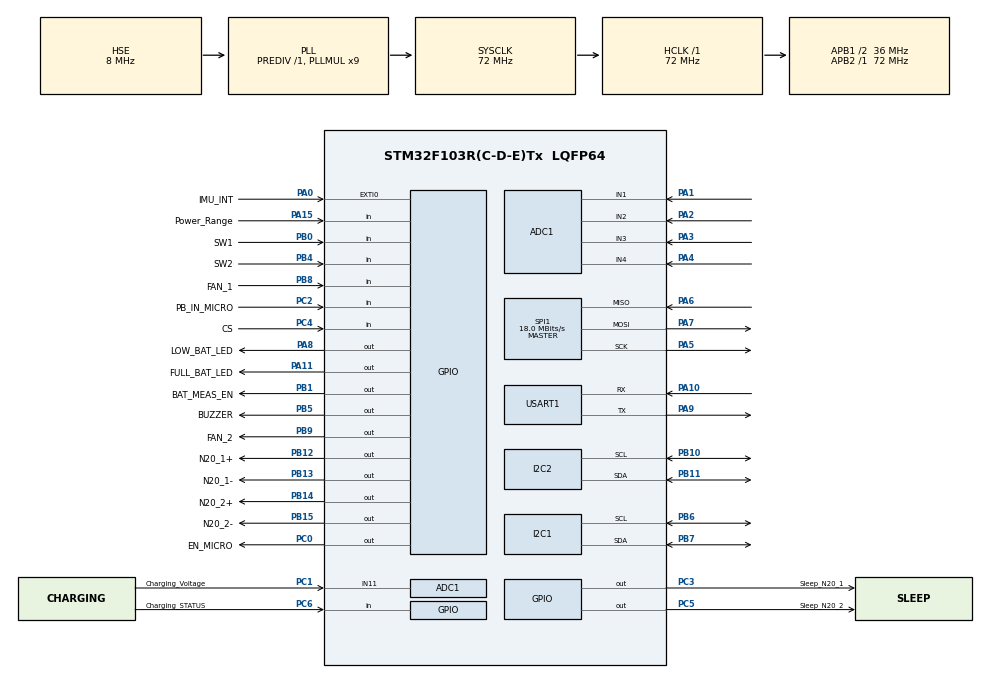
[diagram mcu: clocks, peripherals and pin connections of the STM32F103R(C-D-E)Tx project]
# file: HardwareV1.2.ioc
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ADC1.Channel-0\#ChannelRegularConversion=ADC_CHANNEL_1
ADC1.Channel-1\#ChannelRegularConversion=ADC_CHANNEL_2
ADC1.Channel-2\#ChannelRegularConversion=ADC_CHANNEL_3
ADC1.Channel-3\#ChannelRegularConversion=ADC_CHANNEL_4
ADC1.Channel-4\#ChannelRegularConversion=ADC_CHANNEL_11
ADC1.ContinuousConvMode=ENABLE
ADC1.EnableAnalogWatchDog=false
ADC1.NbrOfConversion=5
ADC1.NbrOfConversionFlag=1
ADC1.Rank-0\#ChannelRegularConversion=1
ADC1.Rank-1\#ChannelRegularConversion=2
ADC1.Rank-2\#ChannelRegularConversion=3
ADC1.Rank-3\#ChannelRegularConversion=4
ADC1.Rank-4\#ChannelRegularConversion=5
ADC1.SamplingTime-0\#ChannelRegularConversion=ADC_SAMPLETIME_28CYCLES_5
ADC1.SamplingTime-1\#ChannelRegularConversion=ADC_SAMPLETIME_28CYCLES_5
ADC1.SamplingTime-2\#ChannelRegularConversion=ADC_SAMPLETIME_28CYCLES_5
ADC1.SamplingTime-3\#ChannelRegularConversion=ADC_SAMPLETIME_28CYCLES_5
ADC1.SamplingTime-4\#ChannelRegularConversion=ADC_SAMPLETIME_28CYCLES_5
ADC1.master=1
Dma.ADC1.0.Direction=DMA_PERIPH_TO_MEMORY
Dma.ADC1.0.Instance=DMA1_Channel1
Dma.ADC1.0.MemDataAlignment=DMA_MDATAALIGN_HALFWORD
Dma.ADC1.0.MemInc=DMA_MINC_ENABLE
Dma.ADC1.0.Mode=DMA_CIRCULAR
Dma.ADC1.0.PeriphDataAlignment=DMA_PDATAALIGN_HALFWORD
Dma.ADC1.0.PeriphInc=DMA_PINC_DISABLE
Dma.ADC1.0.Priority=DMA_PRIORITY_LOW
Dma.Request0=ADC1
FREERTOS.Tasks01=defaultTask,0,128,StartDefaultTask,Default,NULL,Dynamic,NULL,NULL;IMU_TASK,0,128,Start_IMU_TASK,Default,NULL,Dynamic,NULL,NULL;BT_Task,-3,128,Start_BT_Task,Default,NULL,Dynamic,NULL,NULL
FREERTOS.configUSE_NEWLIB_REENTRANT=1
IWDG.Prescaler=IWDG_PRESCALER_256
Mcu.Family=STM32F1
Mcu.Name=STM32F103R(C-D-E)Tx
Mcu.Package=LQFP64
NVIC.DMA1_Channel1_IRQn=true\:5\:0\:false\:false\:true\:true\:false\:true\:true
NVIC.EXTI0_IRQn=true\:5\:0\:false\:false\:true\:true\:true\:true\:true
NVIC.PriorityGroup=NVIC_PRIORITYGROUP_4
NVIC.TIM1_UP_IRQn=true\:15\:0\:false\:false\:true\:false\:false\:true\:true
NVIC.TimeBase=TIM1_UP_IRQn
NVIC.TimeBaseIP=TIM1
NVIC.USART1_IRQn=true\:5\:0\:false\:false\:true\:true\:true\:true\:true
PA0-WKUP.GPIO_Label=IMU_INT
PA0-WKUP.GPIO_ModeDefaultEXTI=GPIO_MODE_IT_RISING
PA0-WKUP.GPIO_PuPd=GPIO_NOPULL
PA0-WKUP.Signal=GPXTI0
PA1.Signal=ADCx_IN1
PA10.Mode=Asynchronous
PA10.Signal=USART1_RX
PA11.GPIO_Label=FULL_BAT_LED
PA11.Signal=GPIO_Output
PA13.Mode=Trace_Asynchronous_SW
PA13.Signal=SYS_JTMS-SWDIO
PA14.Mode=Trace_Asynchronous_SW
PA14.Signal=SYS_JTCK-SWCLK
PA15.GPIO_Label=Power_Range
PA15.Signal=GPIO_Input
PA2.Signal=ADCx_IN2
PA3.Signal=ADCx_IN3
PA4.Signal=ADCx_IN4
PA5.Mode=Full_Duplex_Master
PA5.Signal=SPI1_SCK
PA6.Mode=Full_Duplex_Master
PA6.Signal=SPI1_MISO
PA7.Mode=Full_Duplex_Master
PA7.Signal=SPI1_MOSI
PA8.GPIO_Label=LOW_BAT_LED
PA8.Signal=GPIO_Output
PA9.Mode=Asynchronous
PA9.Signal=USART1_TX
PB0.GPIO_Label=SW1
PB0.GPIO_PuPd=GPIO_PULLUP
PB0.Signal=GPIO_Input
PB1.GPIO_Label=BAT_MEAS_EN
PB1.Signal=GPIO_Output
PB10.Mode=I2C
PB10.Signal=I2C2_SCL
PB11.Mode=I2C
PB11.Signal=I2C2_SDA
PB12.GPIO_Label=N20_1+
PB12.Signal=GPIO_Output
PB13.GPIO_Label=N20_1-
PB13.Signal=GPIO_Output
PB14.GPIO_Label=N20_2+
PB14.Signal=GPIO_Output
PB15.GPIO_Label=N20_2-
PB15.Signal=GPIO_Output
PB3.Mode=Trace_Asynchronous_SW
PB3.Signal=SYS_JTDO-TRACESWO
PB4.GPIO_Label=SW2
PB4.GPIO_PuPd=GPIO_PULLUP
PB4.Signal=GPIO_Input
PB5.GPIO_Label=BUZZER
PB5.Signal=GPIO_Output
PB6.Mode=I2C
PB6.Signal=I2C1_SCL
PB7.Mode=I2C
PB7.Signal=I2C1_SDA
PB8.GPIO_Label=FAN_1
PB8.Signal=GPIO_Input
PB9.GPIO_Label=FAN_2
PB9.Signal=GPIO_Output
PC0.GPIO_Label=EN_MICRO
PC0.Signal=GPIO_Output
PC1.GPIO_Label=Charging_Voltage
PC1.Signal=ADCx_IN11
PC2.GPIO_Label=PB_IN_MICRO
PC2.GPIO_PuPd=GPIO_PULLUP
PC2.Signal=GPIO_Input
PC3.GPIO_Label=Sleep_N20_1
PC3.Signal=GPIO_Output
PC4.GPIO_Label=CS
PC4.Signal=GPIO_Input
PC5.GPIO_Label=Sleep_N20_2
PC5.Signal=GPIO_Output
PC6.GPIO_Label=Charging_STATUS
PC6.Signal=GPIO_Input
PD0-OSC_IN.Mode=HSE-External-Oscillator
PD0-OSC_IN.Signal=RCC_OSC_IN
PD1-OSC_OUT.Mode=HSE-External-Oscillator
PD1-OSC_OUT.Signal=RCC_OSC_OUT
ProjectManager.HeapSize=0x200
ProjectManager.StackSize=0x400
ProjectManager.TargetToolchain=STM32CubeIDE
RCC.ADCPresc=RCC_ADCPCLK2_DIV6
RCC.AHBFreq_Value=72000000
RCC.APB1CLKDivider=RCC_HCLK_DIV2
RCC.APB1Freq_Value=36000000
RCC.APB1TimFreq_Value=72000000
RCC.APB2Freq_Value=72000000
RCC.APB2TimFreq_Value=72000000
RCC.HCLKFreq_Value=72000000
RCC.PLLMUL=RCC_PLL_MUL9
RCC.PLLSourceVirtual=RCC_PLLSOURCE_HSE
RCC.SYSCLKFreq_VALUE=72000000
RCC.SYSCLKSource=RCC_SYSCLKSOURCE_PLLCLK
RCC.USBFreq_Value=72000000
SH.ADCx_IN1.0=ADC1_IN1,IN1
SH.ADCx_IN11.0=ADC1_IN11,IN11
SH.ADCx_IN2.0=ADC1_IN2,IN2
SH.ADCx_IN3.0=ADC1_IN3,IN3
SH.ADCx_IN4.0=ADC1_IN4,IN4
SPI1.BaudRatePrescaler=SPI_BAUDRATEPRESCALER_4
SPI1.CalculateBaudRate=18.0 MBits/s
SPI1.Direction=SPI_DIRECTION_2LINES
SPI1.Mode=SPI_MODE_MASTER
SPI1.VirtualType=VM_MASTER
USART1.VirtualMode=VM_ASYNC
VP_FREERTOS_VS_CMSIS_V1.Mode=CMSIS_V1
VP_IWDG_VS_IWDG.Mode=IWDG_Activate
VP_RTC_VS_RTC_Activate.Mode=RTC_Enabled
VP_SYS_VS_tim1.Mode=TIM1
board=custom

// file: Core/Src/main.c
/* USER CODE BEGIN Header */
/**
  ******************************************************************************
  * @file           : main.c
  * @brief          : Main program body
  ******************************************************************************
  * @attention
  *
  * Copyright (c) 2025 STMicroelectronics.
  * All rights reserved.
  *
  * This software is licensed under terms that can be found in the LICENSE file
  * in the root directory of this software component.
  * If no LICENSE file comes with this software, it is provided AS-IS.
  *
  ******************************************************************************
  */
/* USER CODE END Header */
#include "main.h"
#include "cmsis_os.h"

/* USER CODE BEGIN Includes */

#include "GPIO.h"
#include "icm20948.h"
#include "function.h"
#include "var.h"
#include "flashio.h"
#include "Exicution.h"
#include "W25Qxx.h"
#include "rtc.h" // custem rtc lib
#include "PCF85063A.h"
/* USER CODE END Includes */

/* USER CODE BEGIN PTD */
uint32_t inf_time=0,Def_time=0;
uint32_t unixTime =1786605427;
uint8_t rtcBuffer[7];
/* USER CODE END PTD */

ADC_HandleTypeDef hadc1;
DMA_HandleTypeDef hdma_adc1;

I2C_HandleTypeDef hi2c1;
I2C_HandleTypeDef hi2c2;

IWDG_HandleTypeDef hiwdg;

RTC_HandleTypeDef hrtc;

SPI_HandleTypeDef hspi1;

UART_HandleTypeDef huart1;

osThreadId defaultTaskHandle;
osThreadId IMU_TASKHandle;
osThreadId BT_TaskHandle;
/* USER CODE BEGIN PV */
volatile bool motionDetected = false;
/* USER CODE END PV */

void SystemClock_Config(void);
static void MX_GPIO_Init(void);
static void MX_DMA_Init(void);
static void MX_ADC1_Init(void);
static void MX_IWDG_Init(void);
static void MX_I2C2_Init(void);
static void MX_USART1_UART_Init(void);
static void MX_SPI1_Init(void);
static void MX_RTC_Init(void);
static void MX_I2C1_Init(void);
void StartDefaultTask(void const * argument);
void Start_IMU_TASK(void const * argument);
void Start_BT_Task(void const * argument);

/* USER CODE BEGIN PFP */
void DWT_Delay_Init(void);
void delay_us(uint32_t us);
void vTaskDelay(const TickType_t xTicksToDelay);
void HAL_GPIO_EXTI_Callback(uint16_t GPIO_Pin);
/* USER CODE END PFP */

/* USER CODE BEGIN 0 */
void HARDWRAE_ERROR() {
//	  NVIC_SystemReset();
}
/* USER CODE END 0 */

int main(void)
{

  /* MCU Configuration--------------------------------------------------------*/

  /* Reset of all peripherals, Initializes the Flash interface and the Systick. */
  HAL_Init();

  /* Configure the system clock */
  SystemClock_Config();

  /* USER CODE BEGIN SysInit */
  MX_USART1_UART_Init();
  /* USER CODE END SysInit */

  /* Initialize all configured peripherals */
  MX_GPIO_Init();
  MX_DMA_Init();
  MX_ADC1_Init();
//  MX_IWDG_Init();
  MX_I2C2_Init();
  MX_USART1_UART_Init();
  MX_SPI1_Init();
  MX_RTC_Init();
  MX_I2C1_Init();
  /* USER CODE BEGIN 2 */

  sendString(&huart1,(int8_t*)Device_ID,19);
  /* USER CODE END 2 */

  /* Create the thread(s) */
  /* definition and creation of defaultTask */
  osThreadDef(defaultTask, StartDefaultTask, osPriorityNormal, 1, 128);
  defaultTaskHandle = osThreadCreate(osThread(defaultTask), NULL);

  /* definition and creation of IMU_TASK */
  osThreadDef(IMU_TASK, Start_IMU_TASK, osPriorityNormal, 2, 128);
  IMU_TASKHandle = osThreadCreate(osThread(IMU_TASK), NULL);

  /* definition and creation of BT_Task */
  osThreadDef(BT_Task, Start_BT_Task, osPriorityNormal, 0, 128);
  BT_TaskHandle = osThreadCreate(osThread(BT_Task), NULL);

  /* Start scheduler */
  osKernelStart();

  /* We should never get here as control is now taken by the scheduler */

  /* Infinite loop */
  while (1)
  {

  }
}

void SystemClock_Config(void)
{
  RCC_OscInitTypeDef RCC_OscInitStruct = {0};
  RCC_ClkInitTypeDef RCC_ClkInitStruct = {0};
  RCC_PeriphCLKInitTypeDef PeriphClkInit = {0};

  /** Initializes the RCC Oscillators according to the specified parameters
  * in the RCC_OscInitTypeDef structure.
  */
  RCC_OscInitStruct.OscillatorType = RCC_OSCILLATORTYPE_LSI|RCC_OSCILLATORTYPE_HSE;
  RCC_OscInitStruct.HSEState = RCC_HSE_ON;
  RCC_OscInitStruct.HSEPredivValue = RCC_HSE_PREDIV_DIV1;
  RCC_OscInitStruct.HSIState = RCC_HSI_ON;
  RCC_OscInitStruct.LSIState = RCC_LSI_ON;
  RCC_OscInitStruct.PLL.PLLState = RCC_PLL_ON;
  RCC_OscInitStruct.PLL.PLLSource = RCC_PLLSOURCE_HSE;
  RCC_OscInitStruct.PLL.PLLMUL = RCC_PLL_MUL9;
  if (HAL_RCC_OscConfig(&RCC_OscInitStruct) != HAL_OK)
  {
    Error_Handler();
  }

  /** Initializes the CPU, AHB and APB buses clocks
  */
  RCC_ClkInitStruct.ClockType = RCC_CLOCKTYPE_HCLK|RCC_CLOCKTYPE_SYSCLK
                              |RCC_CLOCKTYPE_PCLK1|RCC_CLOCKTYPE_PCLK2;
  RCC_ClkInitStruct.SYSCLKSource = RCC_SYSCLKSOURCE_PLLCLK;
  RCC_ClkInitStruct.AHBCLKDivider = RCC_SYSCLK_DIV1;
  RCC_ClkInitStruct.APB1CLKDivider = RCC_HCLK_DIV2;
  RCC_ClkInitStruct.APB2CLKDivider = RCC_HCLK_DIV1;

  if (HAL_RCC_ClockConfig(&RCC_ClkInitStruct, FLASH_LATENCY_2) != HAL_OK)
  {
    Error_Handler();
  }
  PeriphClkInit.PeriphClockSelection = RCC_PERIPHCLK_RTC|RCC_PERIPHCLK_ADC;
  PeriphClkInit.RTCClockSelection = RCC_RTCCLKSOURCE_LSI;
  PeriphClkInit.AdcClockSelection = RCC_ADCPCLK2_DIV6;
  if (HAL_RCCEx_PeriphCLKConfig(&PeriphClkInit) != HAL_OK)
  {
    Error_Handler();
  }
}

static void MX_ADC1_Init(void)
{

  ADC_ChannelConfTypeDef sConfig = {0};

  /** Common config
  */
  hadc1.Instance = ADC1;
  hadc1.Init.ScanConvMode = ADC_SCAN_ENABLE;
  hadc1.Init.ContinuousConvMode = ENABLE;
  hadc1.Init.DiscontinuousConvMode = DISABLE;
  hadc1.Init.ExternalTrigConv = ADC_SOFTWARE_START;
  hadc1.Init.DataAlign = ADC_DATAALIGN_RIGHT;
  hadc1.Init.NbrOfConversion = 5;
  if (HAL_ADC_Init(&hadc1) != HAL_OK)
  {
    Error_Handler();
  }

  /** Configure Regular Channel
  */
  sConfig.Channel = ADC_CHANNEL_1;
  sConfig.Rank = ADC_REGULAR_RANK_1;
  sConfig.SamplingTime = ADC_SAMPLETIME_28CYCLES_5;
  if (HAL_ADC_ConfigChannel(&hadc1, &sConfig) != HAL_OK)
  {
    Error_Handler();
  }

  /** Configure Regular Channel
  */
  sConfig.Channel = ADC_CHANNEL_2;
  sConfig.Rank = ADC_REGULAR_RANK_2;
  if (HAL_ADC_ConfigChannel(&hadc1, &sConfig) != HAL_OK)
  {
    Error_Handler();
  }

  /** Configure Regular Channel
  */
  sConfig.Channel = ADC_CHANNEL_3;
  sConfig.Rank = ADC_REGULAR_RANK_3;
  if (HAL_ADC_ConfigChannel(&hadc1, &sConfig) != HAL_OK)
  {
    Error_Handler();
  }

  /** Configure Regular Channel
  */
  sConfig.Channel = ADC_CHANNEL_4;
  sConfig.Rank = ADC_REGULAR_RANK_4;
  if (HAL_ADC_ConfigChannel(&hadc1, &sConfig) != HAL_OK)
  {
    Error_Handler();
  }

  /** Configure Regular Channel
  */
  sConfig.Channel = ADC_CHANNEL_11;
  sConfig.Rank = ADC_REGULAR_RANK_5;
  if (HAL_ADC_ConfigChannel(&hadc1, &sConfig) != HAL_OK)
  {
    Error_Handler();
  }

}

static void MX_I2C1_Init(void)
{

  hi2c1.Instance = I2C1;
  hi2c1.Init.ClockSpeed = 100000;
  hi2c1.Init.DutyCycle = I2C_DUTYCYCLE_2;
  hi2c1.Init.OwnAddress1 = 0;
  hi2c1.Init.AddressingMode = I2C_ADDRESSINGMODE_7BIT;
  hi2c1.Init.DualAddressMode = I2C_DUALADDRESS_DISABLE;
  hi2c1.Init.OwnAddress2 = 0;
  hi2c1.Init.GeneralCallMode = I2C_GENERALCALL_DISABLE;
  hi2c1.Init.NoStretchMode = I2C_NOSTRETCH_DISABLE;
  if (HAL_I2C_Init(&hi2c1) != HAL_OK)
  {
    Error_Handler();
  }

}

static void MX_I2C2_Init(void)
{

  hi2c2.Instance = I2C2;
  hi2c2.Init.ClockSpeed = 100000;
  hi2c2.Init.DutyCycle = I2C_DUTYCYCLE_2;
  hi2c2.Init.OwnAddress1 = 0;
  hi2c2.Init.AddressingMode = I2C_ADDRESSINGMODE_7BIT;
  hi2c2.Init.DualAddressMode = I2C_DUALADDRESS_DISABLE;
  hi2c2.Init.OwnAddress2 = 0;
  hi2c2.Init.GeneralCallMode = I2C_GENERALCALL_DISABLE;
  hi2c2.Init.NoStretchMode = I2C_NOSTRETCH_DISABLE;
  if (HAL_I2C_Init(&hi2c2) != HAL_OK)
  {
    Error_Handler();
  }
  /* USER CODE BEGIN I2C2_Init 2 */
  sendString(&huart1, (int8_t*)"B", 1);
  /* USER CODE END I2C2_Init 2 */

}

static void MX_IWDG_Init(void)
{

  hiwdg.Instance = IWDG;
  hiwdg.Init.Prescaler = IWDG_PRESCALER_256;
  hiwdg.Init.Reload = 4095;
  if (HAL_IWDG_Init(&hiwdg) != HAL_OK)
  {
    Error_Handler();
  }

}

static void MX_RTC_Init(void)
{

  /** Initialize RTC Only
  */
  hrtc.Instance = RTC;
  hrtc.Init.AsynchPrediv = RTC_AUTO_1_SECOND;
  hrtc.Init.OutPut = RTC_OUTPUTSOURCE_ALARM;
  if (HAL_RTC_Init(&hrtc) != HAL_OK)
  {
    Error_Handler();
  }

}

static void MX_SPI1_Init(void)
{

  /* SPI1 parameter configuration*/
  hspi1.Instance = SPI1;
  hspi1.Init.Mode = SPI_MODE_MASTER;
  hspi1.Init.Direction = SPI_DIRECTION_2LINES;
  hspi1.Init.DataSize = SPI_DATASIZE_8BIT;
  hspi1.Init.CLKPolarity = SPI_POLARITY_LOW;
  hspi1.Init.CLKPhase = SPI_PHASE_1EDGE;
  hspi1.Init.NSS = SPI_NSS_SOFT;
  hspi1.Init.BaudRatePrescaler = SPI_BAUDRATEPRESCALER_4;
  hspi1.Init.FirstBit = SPI_FIRSTBIT_MSB;
  hspi1.Init.TIMode = SPI_TIMODE_DISABLE;
  hspi1.Init.CRCCalculation = SPI_CRCCALCULATION_DISABLE;
  hspi1.Init.CRCPolynomial = 10;
  if (HAL_SPI_Init(&hspi1) != HAL_OK)
  {
    Error_Handler();
  }
  /* USER CODE BEGIN SPI1_Init 2 */
  sendString(&huart1, (int8_t*)"D", 1);
  /* USER CODE END SPI1_Init 2 */

}

static void MX_USART1_UART_Init(void)
{

  huart1.Instance = USART1;
  huart1.Init.BaudRate = 115200;
  huart1.Init.WordLength = UART_WORDLENGTH_8B;
  huart1.Init.StopBits = UART_STOPBITS_1;
  huart1.Init.Parity = UART_PARITY_NONE;
  huart1.Init.Mode = UART_MODE_TX_RX;
  huart1.Init.HwFlowCtl = UART_HWCONTROL_NONE;
  huart1.Init.OverSampling = UART_OVERSAMPLING_16;
  if (HAL_UART_Init(&huart1) != HAL_OK)
  {
    Error_Handler();
  }
  /* USER CODE BEGIN USART1_Init 2 */
  sendString(&huart1,(int8_t*)"A", 1);
  /* USER CODE END USART1_Init 2 */

}

static void MX_DMA_Init(void)
{

  /* DMA controller clock enable */
  __HAL_RCC_DMA1_CLK_ENABLE();

  /* DMA interrupt init */
  /* DMA1_Channel1_IRQn interrupt configuration */
  HAL_NVIC_SetPriority(DMA1_Channel1_IRQn, 5, 0);
  HAL_NVIC_EnableIRQ(DMA1_Channel1_IRQn);

}

static void MX_GPIO_Init(void)
{
  GPIO_InitTypeDef GPIO_InitStruct = {0};

  /* GPIO Ports Clock Enable */
  __HAL_RCC_GPIOD_CLK_ENABLE();
  __HAL_RCC_GPIOC_CLK_ENABLE();
  __HAL_RCC_GPIOA_CLK_ENABLE();
  __HAL_RCC_GPIOB_CLK_ENABLE();

  /*Configure GPIO pin Output Level */
  HAL_GPIO_WritePin(GPIOC, EN_MICRO_Pin|Sleep_N20_1_Pin|Sleep_N20_2_Pin, GPIO_PIN_RESET);

  /*Configure GPIO pin Output Level */
  HAL_GPIO_WritePin(GPIOB, BAT_MEAS_EN_Pin|N20_1__Pin|N20_1_B13_Pin|N20_2__Pin
                          |N20_2_B15_Pin|BUZZER_Pin|FAN_2_Pin | FAN_1_Pin, GPIO_PIN_RESET);

  /*Configure GPIO pin Output Level */
  HAL_GPIO_WritePin(GPIOA, LOW_BAT_LED_Pin|FULL_BAT_LED_Pin, GPIO_PIN_RESET);

  /*Configure GPIO pins : EN_MICRO_Pin Sleep_N20_1_Pin Sleep_N20_2_Pin */
  GPIO_InitStruct.Pin = EN_MICRO_Pin|Sleep_N20_1_Pin|Sleep_N20_2_Pin;
  GPIO_InitStruct.Mode = GPIO_MODE_OUTPUT_PP;
  GPIO_InitStruct.Pull = GPIO_NOPULL;
  GPIO_InitStruct.Speed = GPIO_SPEED_FREQ_LOW;
  HAL_GPIO_Init(GPIOC, &GPIO_InitStruct);

  /*Configure GPIO pin : PB_IN_MICRO_Pin */
  GPIO_InitStruct.Pin = PB_IN_MICRO_Pin;
  GPIO_InitStruct.Mode = GPIO_MODE_INPUT;
  GPIO_InitStruct.Pull = GPIO_PULLUP;
  HAL_GPIO_Init(PB_IN_MICRO_GPIO_Port, &GPIO_InitStruct);

  /*Configure GPIO pin : IMU_INT_Pin */
  GPIO_InitStruct.Pin = IMU_INT_Pin;
  GPIO_InitStruct.Mode = GPIO_MODE_IT_RISING;
  GPIO_InitStruct.Pull = GPIO_NOPULL;
  HAL_GPIO_Init(IMU_INT_GPIO_Port, &GPIO_InitStruct);

  /*Configure GPIO pins : CS_Pin Charging_STATUS_Pin */
  GPIO_InitStruct.Pin = CS_Pin|Charging_STATUS_Pin;
  GPIO_InitStruct.Mode = GPIO_MODE_INPUT;
  GPIO_InitStruct.Pull = GPIO_NOPULL;
  HAL_GPIO_Init(GPIOC, &GPIO_InitStruct);

  /*Configure GPIO pins : SW1_Pin SW2_Pin */
  GPIO_InitStruct.Pin = SW1_Pin|SW2_Pin;
  GPIO_InitStruct.Mode = GPIO_MODE_INPUT;
  GPIO_InitStruct.Pull = GPIO_PULLUP;
  HAL_GPIO_Init(GPIOB, &GPIO_InitStruct);

  /*Configure GPIO pins : BAT_MEAS_EN_Pin N20_1__Pin N20_1_B13_Pin N20_2__Pin
                           N20_2_B15_Pin BUZZER_Pin FAN_2_Pin */
  GPIO_InitStruct.Pin = BAT_MEAS_EN_Pin|N20_1__Pin|N20_1_B13_Pin|N20_2__Pin
                          |N20_2_B15_Pin|BUZZER_Pin|FAN_2_Pin | FAN_1_Pin;
  GPIO_InitStruct.Mode = GPIO_MODE_OUTPUT_PP;
  GPIO_InitStruct.Pull = GPIO_NOPULL;
  GPIO_InitStruct.Speed = GPIO_SPEED_FREQ_LOW;
  HAL_GPIO_Init(GPIOB, &GPIO_InitStruct);

  /*Configure GPIO pins : LOW_BAT_LED_Pin FULL_BAT_LED_Pin */
  GPIO_InitStruct.Pin = LOW_BAT_LED_Pin|FULL_BAT_LED_Pin;
  GPIO_InitStruct.Mode = GPIO_MODE_OUTPUT_PP;
  GPIO_InitStruct.Pull = GPIO_NOPULL;
  GPIO_InitStruct.Speed = GPIO_SPEED_FREQ_LOW;
  HAL_GPIO_Init(GPIOA, &GPIO_InitStruct);

  /*Configure GPIO pin : Power_Range_Pin */
  GPIO_InitStruct.Pin = Power_Range_Pin;
  GPIO_InitStruct.Mode = GPIO_MODE_INPUT;
  GPIO_InitStruct.Pull = GPIO_NOPULL;
  HAL_GPIO_Init(Power_Range_GPIO_Port, &GPIO_InitStruct);

  /*Configure GPIO pin : FAN_1_Pin */
//  GPIO_InitStruct.Pin = FAN_1_Pin;
//  GPIO_InitStruct.Mode = GPIO_MODE_INPUT;
//  GPIO_InitStruct.Pull = GPIO_NOPULL;
//  HAL_GPIO_Init(FAN_1_GPIO_Port, &GPIO_InitStruct);

  /* EXTI interrupt init*/
  HAL_NVIC_SetPriority(EXTI0_IRQn, 5, 0);
  HAL_NVIC_EnableIRQ(EXTI0_IRQn);

  /* USER CODE BEGIN MX_GPIO_Init_2 */
//  /* EXTI interrupt init*/
//   HAL_NVIC_SetPriority(EXTI0_IRQn, 0, 0);
//   HAL_NVIC_EnableIRQ(EXTI0_IRQn);

  /* USER CODE END MX_GPIO_Init_2 */
}

/* USER CODE BEGIN 4 */
void DWT_Delay_Init(void)
{
    CoreDebug->DEMCR |= CoreDebug_DEMCR_TRCENA_Msk; // Enable DWT
    DWT->CYCCNT = 0;                                // Reset cycle counter
    DWT->CTRL |= DWT_CTRL_CYCCNTENA_Msk;            // Start counting
}

void delay_us(uint32_t us)
{
    uint32_t start = DWT->CYCCNT;
    uint32_t ticks = us * (HAL_RCC_GetHCLKFreq() / 1000000);
    while ((DWT->CYCCNT - start) < ticks);
}

void HAL_GPIO_EXTI_Callback(uint16_t GPIO_Pin)
{
	if (GPIO_Pin == GPIO_PIN_0)  // Assuming INT pin = PA0
	    {
		motionDetected = true;  // Set flag
	    }
}

/* USER CODE END 4 */

void StartDefaultTask(void const * argument)
{
  /* USER CODE BEGIN 5 */

	DWT_Delay_Init();  // call once in setup
	W25Q_Reset();
	readmemory();  //Check Flash memory ID
	Readmanualcount(); // Update button press count
	ReadSetting(); // update calibration data to parameters
	Read4stage_data();
	Callibration_value();
	rstcountRead();
	//RTC_Counter = (RTC->CNTH << 16) | (RTC->CNTL);
	Act_data.old_stand_time = RTC_Counter;    // to set rtc time in starting
    Act_data.old_sit_time = RTC_Counter;
	Act_data.old_walk_time=RTC_Counter;
	greenled();
	time.Oldtime = HAL_GetTick();
	time.STtime= HAL_GetTick();
	CheckStatus();
	HAL_ADC_Start_DMA(&hadc1,(uint32_t*) IN_VALUE, 5);
	BUZZER_ON();
	inf_time=HAL_GetTick();
	HAL_GPIO_WritePin(BAT_MEAS_EN_GPIO_Port, BAT_MEAS_EN_Pin, SET);
  /* Infinite loop */
  for(;;)
  {

//		  INFLATION();
//		  inf_time=HAL_GetTick();
//		while((HAL_GetTick()-inf_time)<30000){};
//		DEFLATION();
//		inf_time=HAL_GetTick();
//		while((HAL_GetTick()-inf_time)<30000){};
	  time.Runtime=HAL_GetTick();
	  HealthStatus();
	  ManualMode();
	  CurrentPostureStatus = checkPosture();
	  time.Reinflate = HAL_GetTick();
	  Define_Mode();
	  automaticMode();
	  RTC_Counter = (RTC->CNTH << 16) | (RTC->CNTL);
	  command = btFuncCheck(&huart1);
	  if (command != 0){commandFunc();}
	  balancetest();
	  BAT_CHAR_STATUS();
//	  HAL_IWDG_Refresh(&hiwdg);
	  Battery_level();
	  osDelay(50);

  }
  /* USER CODE END 5 */
}

void Start_IMU_TASK(void const * argument)
{
  /* USER CODE BEGIN Start_IMU_TASK */
//	 ICM20948_Init(&hi2c2, ICM20948_ADDR); // R - Accel Initial
//	 ICM20948_Init(&hi2c2, ICM20948_ADDR_LOW); //L - accel intial

    	HAL_StatusTypeDef status;
	  status = PCF85063A_SetUnixTime(&hi2c1, unixTime);
	  uint32_t unixRead=0;
	  PCF85063A_GetUnixTime(&hi2c1, &unixRead);
  /* Infinite loop */
  for(;;)
  {
	      Powerswitch();
	      PCF85063A_ReadRegisters(&hi2c1, PCF85063A_REG_SECONDS, rtcBuffer,7);
	 	  PCF85063A_GetTime(&hi2c1,&unixTime);
	 	  HAL_Delay(100);
//	  leftsensor();
//	  rightsensor();
//	  systemReset();
//	  osDelay(50);
  }
  /* USER CODE END Start_IMU_TASK */
}

void Start_BT_Task(void const * argument)
{
  /* USER CODE BEGIN Start_BT_Task */
	btFuncInit(&huart1);  // BT uart intialize AND ACKNOWLADGEMENT
	btReceiveReset(&huart1);
  /* Infinite loop */
  for(;;)
  {
	  RTC_Counter = (RTC->CNTH << 16) | (RTC->CNTL);
	  command = btFuncCheck(&huart1);
	  if (command != 0)
	  {commandFunc();}
//	  HAL_IWDG_Refresh(&hiwdg);
      osDelay(10);
  }
  /* USER CODE END Start_BT_Task */
}

void HAL_TIM_PeriodElapsedCallback(TIM_HandleTypeDef *htim)
{
  /* USER CODE BEGIN Callback 0 */
	/* Enable DWT and ITM for SWO trace */
	CoreDebug->DEMCR |= CoreDebug_DEMCR_TRCENA_Msk;
	ITM->LAR = 0xC5ACCE55;   // unlock ITM if locked
	ITM->TCR = ITM_TCR_ITMENA_Msk | ITM_TCR_TSENA_Msk |
	           ITM_TCR_SWOENA_Msk | ITM_TCR_SYNCENA_Msk;
	ITM->TER = 1;            // enable stimulus port 0

  /* USER CODE END Callback 0 */
  if (htim->Instance == TIM1)
  {
    HAL_IncTick();
  }
}

void Error_Handler(void)
{
  __disable_irq();
  while (1)
  {
  }
}
